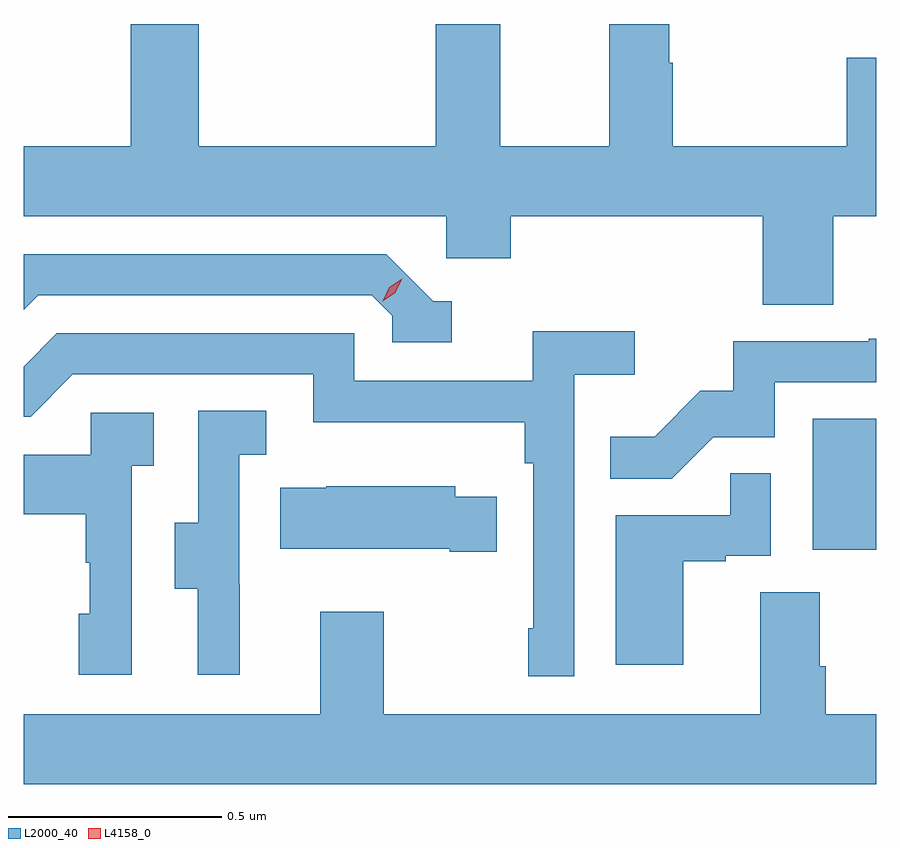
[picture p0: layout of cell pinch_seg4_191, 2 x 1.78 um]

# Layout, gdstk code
import gdstk
lib = gdstk.Library(unit=1e-6, precision=1e-09)
def R(c, l, rs):  # rectangles x0, y0, x1, y1
    for r in rs: c.add(gdstk.rectangle(r[:2], r[2:], *l))
def P(c, l, *ps):  # polygons
    for p in ps: c.add(gdstk.Polygon(p, *l))
L2000_40 = (2000, 40)
L4158_0 = (4158, 0)

pinch_seg4_191 = lib.new_cell('pinch_seg4_191')
R(pinch_seg4_191, L2000_40, [(1103.09,796.038,1103.239,796.345)])
P(pinch_seg4_191, L2000_40, [(1103.138,796.82),(1103.239,796.82),(1103.239,797.192),(1103.17,797.192),(1103.17,796.984),(1102.761,796.984),(1102.761,797.18),(1102.753,797.18),(1102.753,797.271),(1102.613,797.271),(1102.613,796.984),(1102.357,796.984),(1102.357,797.271),(1102.205,797.271),(1102.205,796.984),(1101.65,796.984),(1101.65,797.271),(1101.49,797.271),(1101.49,796.984),(1101.239,796.984),(1101.239,796.82),(1102.23,796.82),(1102.23,796.722),(1102.382,796.722),(1102.382,796.82),(1102.973,796.82),(1102.973,796.612),(1103.138,796.612)],
  [(1102.243,796.62),(1102.2,796.62),(1102.089,796.731),(1101.239,796.731),(1101.239,796.601),(1101.273,796.635),(1102.056,796.635),(1102.104,796.587),(1102.104,796.524),(1102.243,796.524)],
  [(1102.53,796.448),(1102.672,796.448),(1102.672,796.55),(1102.433,796.55),(1102.433,796.434),(1102.014,796.434),(1102.014,796.545),(1101.317,796.545),(1101.239,796.467),(1101.239,796.35),(1101.255,796.35),(1101.354,796.449),(1101.918,796.449),(1101.918,796.337),(1102.414,796.337),(1102.414,796.241),(1102.434,796.241),(1102.434,795.853),(1102.422,795.853),(1102.422,795.741),(1102.53,795.741)],
  [(1102.857,796.302),(1103.001,796.302),(1103.001,796.431),(1103.239,796.431),(1103.239,796.532),(1103.221,796.532),(1103.221,796.527),(1102.903,796.527),(1102.903,796.41),(1102.826,796.41),(1102.719,796.303),(1102.615,796.303),(1102.615,796.204),(1102.759,796.204)],
  [(1101.746,795.957),(1101.744,795.957),(1101.744,796.261),(1101.808,796.261),(1101.808,796.364),(1101.648,796.364),(1101.648,796.101),(1101.593,796.101),(1101.593,795.946),(1101.647,795.946),(1101.647,795.744),(1101.746,795.744)],
  [(1101.492,796.235),(1101.544,796.235),(1101.544,796.359),(1101.396,796.359),(1101.396,796.261),(1101.239,796.261),(1101.239,796.121),(1101.384,796.121),(1101.384,796.007),(1101.394,796.007),(1101.394,795.888),(1101.368,795.888),(1101.368,795.744),(1101.492,795.744)],
  [(1102.786,796.011),(1102.886,796.011),(1102.886,796.023),(1102.992,796.023),(1102.992,796.217),(1102.897,796.217),(1102.897,796.119),(1102.628,796.119),(1102.628,795.768),(1102.786,795.768)],
  [(1102.349,796.162),(1102.251,796.162),(1102.251,796.186),(1101.949,796.186),(1101.949,796.183),(1101.841,796.183),(1101.841,796.04),(1102.238,796.04),(1102.238,796.033),(1102.349,796.033)],
  [(1103.239,795.652),(1103.12,795.652),(1103.12,795.764),(1103.107,795.764),(1103.107,795.938),(1102.967,795.938),(1102.967,795.652),(1102.083,795.652),(1102.083,795.892),(1101.935,795.892),(1101.935,795.652),(1101.239,795.652),(1101.239,795.488),(1103.239,795.488)])
P(pinch_seg4_191, L4158_0, [(1102.081,796.62),(1102.081,796.621),(1102.096,796.653),(1102.127,796.673),(1102.127,796.673),(1102.127,796.673),(1102.111,796.64),(1102.081,796.62)])

lib.write_gds('pinch_seg4_191.gds')
